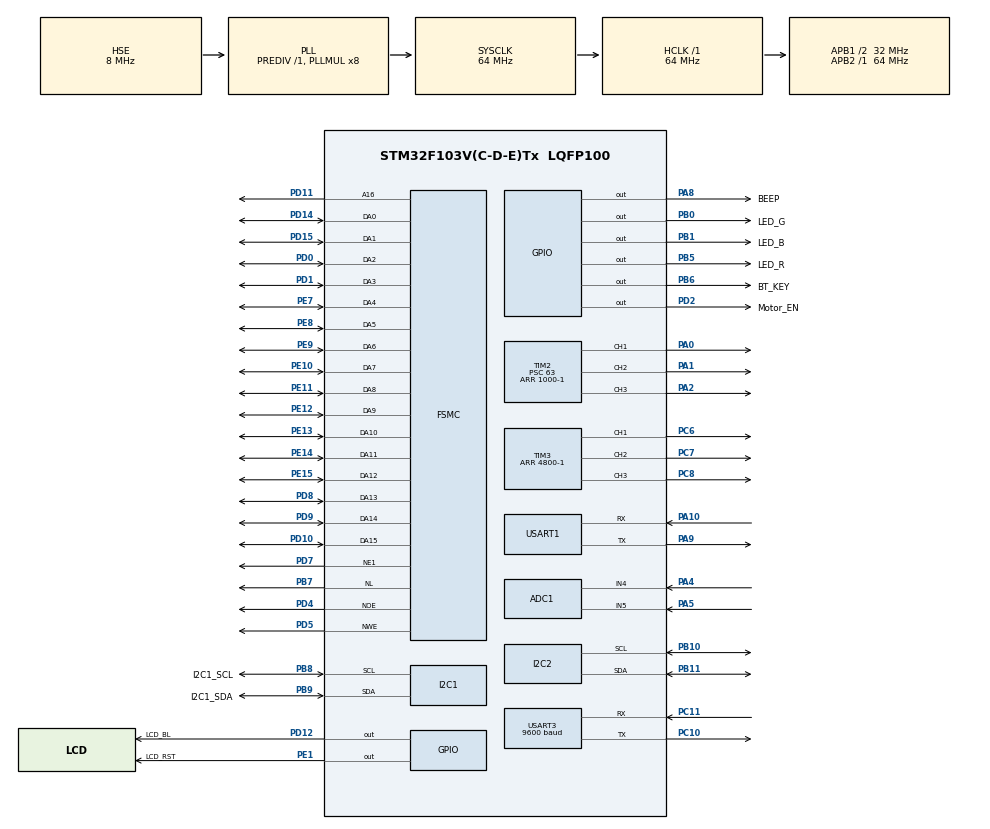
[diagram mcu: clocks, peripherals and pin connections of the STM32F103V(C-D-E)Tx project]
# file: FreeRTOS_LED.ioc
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ADC1.Channel-1\#ChannelRegularConversion=ADC_CHANNEL_5
ADC1.Channel-3\#ChannelRegularConversion=ADC_CHANNEL_4
ADC1.ContinuousConvMode=ENABLE
ADC1.DataAlign=ADC_DATAALIGN_RIGHT
ADC1.EnableInjectedConversion=DISABLE
ADC1.NbrOfConversion=2
ADC1.NbrOfConversionFlag=1
ADC1.Rank-1\#ChannelRegularConversion=1
ADC1.Rank-3\#ChannelRegularConversion=2
ADC1.SamplingTime-1\#ChannelRegularConversion=ADC_SAMPLETIME_1CYCLE_5
ADC1.SamplingTime-3\#ChannelRegularConversion=ADC_SAMPLETIME_1CYCLE_5
ADC1.master=1
Dma.ADC1.2.Direction=DMA_PERIPH_TO_MEMORY
Dma.ADC1.2.Instance=DMA1_Channel1
Dma.ADC1.2.MemDataAlignment=DMA_MDATAALIGN_HALFWORD
Dma.ADC1.2.MemInc=DMA_MINC_ENABLE
Dma.ADC1.2.Mode=DMA_CIRCULAR
Dma.ADC1.2.PeriphDataAlignment=DMA_PDATAALIGN_HALFWORD
Dma.ADC1.2.PeriphInc=DMA_PINC_DISABLE
Dma.ADC1.2.Priority=DMA_PRIORITY_LOW
Dma.Request0=USART1_RX
Dma.Request1=USART1_TX
Dma.Request2=ADC1
Dma.Request3=USART3_RX
Dma.Request4=USART3_TX
Dma.USART1_RX.0.Direction=DMA_PERIPH_TO_MEMORY
Dma.USART1_RX.0.Instance=DMA1_Channel5
Dma.USART1_RX.0.MemDataAlignment=DMA_MDATAALIGN_BYTE
Dma.USART1_RX.0.MemInc=DMA_MINC_ENABLE
Dma.USART1_RX.0.Mode=DMA_NORMAL
Dma.USART1_RX.0.PeriphDataAlignment=DMA_PDATAALIGN_BYTE
Dma.USART1_RX.0.PeriphInc=DMA_PINC_DISABLE
Dma.USART1_RX.0.Priority=DMA_PRIORITY_LOW
Dma.USART1_TX.1.Direction=DMA_MEMORY_TO_PERIPH
Dma.USART1_TX.1.Instance=DMA1_Channel4
Dma.USART1_TX.1.MemDataAlignment=DMA_MDATAALIGN_BYTE
Dma.USART1_TX.1.MemInc=DMA_MINC_ENABLE
Dma.USART1_TX.1.Mode=DMA_NORMAL
Dma.USART1_TX.1.PeriphDataAlignment=DMA_PDATAALIGN_BYTE
Dma.USART1_TX.1.PeriphInc=DMA_PINC_DISABLE
Dma.USART1_TX.1.Priority=DMA_PRIORITY_LOW
Dma.USART3_RX.3.Direction=DMA_PERIPH_TO_MEMORY
Dma.USART3_RX.3.Instance=DMA1_Channel3
Dma.USART3_RX.3.MemDataAlignment=DMA_MDATAALIGN_BYTE
Dma.USART3_RX.3.MemInc=DMA_MINC_ENABLE
Dma.USART3_RX.3.Mode=DMA_NORMAL
Dma.USART3_RX.3.PeriphDataAlignment=DMA_PDATAALIGN_BYTE
Dma.USART3_RX.3.PeriphInc=DMA_PINC_DISABLE
Dma.USART3_RX.3.Priority=DMA_PRIORITY_HIGH
Dma.USART3_TX.4.Direction=DMA_MEMORY_TO_PERIPH
Dma.USART3_TX.4.Instance=DMA1_Channel2
Dma.USART3_TX.4.MemDataAlignment=DMA_MDATAALIGN_BYTE
Dma.USART3_TX.4.MemInc=DMA_MINC_ENABLE
Dma.USART3_TX.4.Mode=DMA_NORMAL
Dma.USART3_TX.4.PeriphDataAlignment=DMA_PDATAALIGN_BYTE
Dma.USART3_TX.4.PeriphInc=DMA_PINC_DISABLE
Dma.USART3_TX.4.Priority=DMA_PRIORITY_LOW
FREERTOS.Tasks01=LED_Blink,8,128,StartDefaultTask,Default,NULL,Dynamic,NULL,NULL
FSMC.BusTurnAroundDuration1=0
FSMC.DataSetupTime1=8
FSMC.WriteOperation1=FSMC_WRITE_OPERATION_ENABLE
I2C1.I2C_Mode=I2C_Fast
I2C2.I2C_Mode=I2C_Fast
Mcu.Family=STM32F1
Mcu.Name=STM32F103V(C-D-E)Tx
Mcu.Package=LQFP100
NVIC.DMA1_Channel4_IRQn=true\:5\:0\:false\:false\:true\:true\:false\:true\:true
NVIC.DMA1_Channel5_IRQn=true\:5\:0\:false\:false\:true\:true\:false\:true\:true
NVIC.PriorityGroup=NVIC_PRIORITYGROUP_4
NVIC.TIM6_IRQn=true\:15\:0\:false\:false\:true\:false\:false\:true\:true
NVIC.TimeBase=TIM6_IRQn
NVIC.TimeBaseIP=TIM6
NVIC.USART1_IRQn=true\:5\:0\:false\:false\:true\:true\:true\:true\:true
OSC_IN.Mode=HSE-External-Oscillator
OSC_IN.Signal=RCC_OSC_IN
OSC_OUT.Mode=HSE-External-Oscillator
OSC_OUT.Signal=RCC_OSC_OUT
PA0-WKUP.Signal=S_TIM2_CH1_ETR
PA1.Signal=S_TIM2_CH2
PA10.Mode=Asynchronous
PA10.Signal=USART1_RX
PA13.Mode=Serial_Wire
PA13.Signal=SYS_JTMS-SWDIO
PA14.Mode=Serial_Wire
PA14.Signal=SYS_JTCK-SWCLK
PA2.Signal=S_TIM2_CH3
PA4.Signal=ADCx_IN4
PA5.Signal=ADCx_IN5
PA8.GPIO_Label=BEEP
PA8.GPIO_ModeDefaultOutputPP=GPIO_MODE_OUTPUT_PP
PA8.GPIO_PuPd=GPIO_NOPULL
PA8.GPIO_Speed=GPIO_SPEED_FREQ_HIGH
PA8.PinState=GPIO_PIN_RESET
PA8.Signal=GPIO_Output
PA9.Mode=Asynchronous
PA9.Signal=USART1_TX
PB0.GPIO_Label=LED_G
PB0.GPIO_Speed=GPIO_SPEED_FREQ_MEDIUM
PB0.PinState=GPIO_PIN_SET
PB0.Signal=GPIO_Output
PB1.GPIO_Label=LED_B
PB1.GPIO_Speed=GPIO_SPEED_FREQ_MEDIUM
PB1.PinState=GPIO_PIN_SET
PB1.Signal=GPIO_Output
PB10.Mode=I2C
PB10.Signal=I2C2_SCL
PB11.Mode=I2C
PB11.Signal=I2C2_SDA
PB5.GPIO_Label=LED_R
PB5.GPIO_Speed=GPIO_SPEED_FREQ_MEDIUM
PB5.PinState=GPIO_PIN_SET
PB5.Signal=GPIO_Output
PB6.GPIO_Label=BT_KEY
PB6.GPIO_Speed=GPIO_SPEED_FREQ_MEDIUM
PB6.Signal=GPIO_Output
PB7.Signal=FSMC_NL
PB8.GPIO_Label=I2C1_SCL
PB8.Mode=I2C
PB8.Signal=I2C1_SCL
PB9.GPIO_Label=I2C1_SDA
PB9.Mode=I2C
PB9.Signal=I2C1_SDA
PC10.Mode=Asynchronous
PC10.Signal=USART3_TX
PC11.Mode=Asynchronous
PC11.Signal=USART3_RX
PC6.Signal=S_TIM3_CH1
PC7.Signal=S_TIM3_CH2
PC8.Signal=S_TIM3_CH3
PD0.Mode=17b-da1
PD0.Signal=FSMC_DA2
PD1.Mode=17b-da1
PD1.Signal=FSMC_DA3
PD10.Mode=17b-da1
PD10.Signal=FSMC_DA15
PD11.Mode=17b-da1
PD11.Signal=FSMC_A16
PD12.GPIO_Label=LCD_BL
PD12.GPIO_PuPd=GPIO_PULLUP
PD12.GPIO_Speed=GPIO_SPEED_FREQ_HIGH
PD12.Signal=GPIO_Output
PD14.Mode=17b-da1
PD14.Signal=FSMC_DA0
PD15.Mode=17b-da1
PD15.Signal=FSMC_DA1
PD2.GPIO_Label=Motor_EN    
PD2.Signal=GPIO_Output
PD4.Mode=MuxedPsram1
PD4.Signal=FSMC_NOE
PD5.Mode=MuxedPsram1
PD5.Signal=FSMC_NWE
PD7.Mode=NorPsramChipSelect1_1
PD7.Signal=FSMC_NE1
PD8.Mode=17b-da1
PD8.Signal=FSMC_DA13
PD9.Mode=17b-da1
PD9.Signal=FSMC_DA14
PE1.GPIO_Label=LCD_RST
PE1.GPIO_PuPd=GPIO_PULLUP
PE1.GPIO_Speed=GPIO_SPEED_FREQ_HIGH
PE1.Signal=GPIO_Output
PE10.Mode=17b-da1
PE10.Signal=FSMC_DA7
PE11.Mode=17b-da1
PE11.Signal=FSMC_DA8
PE12.Mode=17b-da1
PE12.Signal=FSMC_DA9
PE13.Mode=17b-da1
PE13.Signal=FSMC_DA10
PE14.Mode=17b-da1
PE14.Signal=FSMC_DA11
PE15.Mode=17b-da1
PE15.Signal=FSMC_DA12
PE7.Mode=17b-da1
PE7.Signal=FSMC_DA4
PE8.Mode=17b-da1
PE8.Signal=FSMC_DA5
PE9.Mode=17b-da1
PE9.Signal=FSMC_DA6
ProjectManager.HeapSize=0x200
ProjectManager.StackSize=0x400
ProjectManager.TargetToolchain=CMake
RCC.ADCPresc=RCC_ADCPCLK2_DIV6
RCC.AHBFreq_Value=64000000
RCC.APB1CLKDivider=RCC_HCLK_DIV2
RCC.APB1Freq_Value=32000000
RCC.APB1TimFreq_Value=64000000
RCC.APB2Freq_Value=64000000
RCC.APB2TimFreq_Value=64000000
RCC.HCLKFreq_Value=64000000
RCC.PLLMUL=RCC_PLL_MUL8
RCC.PLLSourceVirtual=RCC_PLLSOURCE_HSE
RCC.SYSCLKFreq_VALUE=64000000
RCC.SYSCLKSource=RCC_SYSCLKSOURCE_PLLCLK
RCC.USBFreq_Value=64000000
SH.ADCx_IN4.0=ADC1_IN4,IN4
SH.ADCx_IN5.0=ADC1_IN5,IN5
SH.FSMC_NL.0=FSMC_NL,AddressValid1
SH.S_TIM2_CH1_ETR.0=TIM2_CH1,PWM Generation1 CH1
SH.S_TIM2_CH2.0=TIM2_CH2,PWM Generation2 CH2
SH.S_TIM2_CH3.0=TIM2_CH3,PWM Generation3 CH3
SH.S_TIM3_CH1.0=TIM3_CH1,PWM Generation1 CH1
SH.S_TIM3_CH2.0=TIM3_CH2,PWM Generation2 CH2
SH.S_TIM3_CH3.0=TIM3_CH3,PWM Generation3 CH3
STMicroelectronics.X-CUBE-ALGOBUILD.1.4.0.LibraryCcDSPOoLibraryJjDSPOoLibrary=true
TIM2.Channel-PWM\ Generation1\ CH1=TIM_CHANNEL_1
TIM2.Channel-PWM\ Generation2\ CH2=TIM_CHANNEL_2
TIM2.Channel-PWM\ Generation3\ CH3=TIM_CHANNEL_3
TIM2.Period=1000-1
TIM2.Prescaler=63
TIM3.Channel-PWM\ Generation1\ CH1=TIM_CHANNEL_1
TIM3.Channel-PWM\ Generation2\ CH2=TIM_CHANNEL_2
TIM3.Channel-PWM\ Generation3\ CH3=TIM_CHANNEL_3
TIM3.Period=4800-1
USART1.VirtualMode=VM_ASYNC
USART3.BaudRate=9600
USART3.VirtualMode=VM_ASYNC
VP_FREERTOS_VS_CMSIS_V2.Mode=CMSIS_V2
VP_STMicroelectronics.X-CUBE-ALGOBUILD_VS_DSPOoLibraryJjLibrary_1.4.0_1.4.0.Mode=DSPOoLibraryJjLibrary
VP_SYS_VS_tim6.Mode=TIM6
board=custom

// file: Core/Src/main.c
/* USER CODE BEGIN Header */
/**
  ******************************************************************************
  * @file           : main.c
  * @brief          : Main program body
  ******************************************************************************
  * @attention
  *
  * Copyright (c) 2025 STMicroelectronics.
  * All rights reserved.
  *
  * This software is licensed under terms that can be found in the LICENSE file
  * in the root directory of this software component.
  * If no LICENSE file comes with this software, it is provided AS-IS.
  *
  ******************************************************************************
  */
/* USER CODE END Header */
#include "main.h"
#include "cmsis_os.h"
#include "adc.h"
#include "dma.h"
#include "i2c.h"
#include "tim.h"
#include "usart.h"
#include "gpio.h"
#include "fsmc.h"

/* USER CODE BEGIN Includes */
#include "lcd_bsp.h"
#include "led_bsp.h"
#include "beep_bsp.h"
#include "my_usart.h"
#include "drv_uart.h"
#include "dvc_motorTask.h"
#include "servo_bus_task.h"
#include "dvc_motor.h"
#include "dvc_servo.h"
#include "alg_filter.h"
/* USER CODE END Includes */

/* USER CODE BEGIN PV */
int mycnt = 0;
GPIO_PinState cur_state;
uint8_t disp_mode = 4;

// extern UART_HandleTypeDef huart1;

extern char get_ch;
extern char get_ch2;
extern BT_mode AT_Mode;
extern uint8_t usart_event_flag;
extern CommandHandler_t command_handler;
extern char cmd_buffer[MAX_CMD_LENGTH];

extern Class_Motor_2208 Motor_0;
extern Class_Filter_Second_Order_Butterworth Filter_Test;
extern Class_Servo_Bus servo_bus;

/* USER CODE END PV */

void SystemClock_Config(void);
void MX_FREERTOS_Init(void);
/* USER CODE BEGIN PFP */

extern void Task_EncoderTest(void * param);
extern void Task_EncoderDisp(void * param);
extern void Task_Motor_2208_Test(void * param);

void HandleCommand(const char* command);

void UART_Servo_Call_Back(uint8_t *Buffer, uint16_t Length);
/* USER CODE END PFP */

/* USER CODE BEGIN 0 */

void UART_Servo_Call_Back(uint8_t *Buffer, uint16_t Length)
{
    servo_bus.UART_RxCpltCallback(Buffer, Length);//servo_bus在相应的舵机任务文件中定义dvc_servo_Task.c
    switch (servo_bus.Get_RX_Command())
    {
      case CMD_GET_BATTERY_VOLTAGE:
      {
        usart_printf(&huart1, "BATTERY_VOLTAGE: %f\n",(float)(servo_bus.Get_Voltage() / 1000.0));
      }
      break;
      default:
      {
        for(uint8_t i = 0; i < servo_bus.Get_NumServo(); i++)
        {
          usart_printf(&huart1, "servo %d position: %d\n",servo_bus.Get_Servos(i)->ID,servo_bus.Get_Servos(i)->Position);
        }

      }
        break;
    }
    usart_printf(&huart1, "ECHO:%s\n",Buffer);
}

/* USER CODE END 0 */

int main(void)
{

  /* MCU Configuration--------------------------------------------------------*/

  /* Reset of all peripherals, Initializes the Flash interface and the Systick. */
  HAL_Init();

  /* Configure the system clock */
  SystemClock_Config();

  /* Initialize all configured peripherals */
  MX_GPIO_Init();
  MX_DMA_Init();
  MX_FSMC_Init();
  MX_USART1_UART_Init();
  MX_I2C1_Init();
  MX_I2C2_Init();
  MX_TIM2_Init();
  MX_TIM3_Init();
  MX_ADC1_Init();
  MX_USART3_UART_Init();
  /* USER CODE BEGIN 2 */
  ILI9341_Init(); //初始化ILI9341液晶屏
  ILI9341_GramScan(6);
  HAL_Delay(500);
  ILI9341_Clear(0,0,LCD_X_LENGTH,LCD_Y_LENGTH);
  HAL_Delay(1000);

  // Task_EncoderTest_Init(NULL);
  // Task_Motor_2208_Init(NULL);
  // Task_EncoderDisp_Init();

  uint8_t servos_add[2] = {1,2};

  UART_Init(&huart3, UART_Servo_Call_Back, 100);
  servo_bus.Init(&UART3_Manage_Object);
  servo_bus.Add_Servo(servos_add,2);

  //My_Usart_Init：
  ATMode_Switch(0, &AT_Mode);
  My_USART_SetCommandHandler(HandleCommand);
  HAL_UART_Receive_IT(&huart1, (uint8_t*)&get_ch, 1);
  My_USART_Init();
  printf("UART Command System Ready!\r\n");
  /* USER CODE END 2 */

  /* Init scheduler */
  osKernelInitialize();  /* Call init function for freertos objects (in cmsis_os2.c) */
  MX_FREERTOS_Init();

  /* Start scheduler */
  osKernelStart();

  /* We should never get here as control is now taken by the scheduler */

  /* Infinite loop */
  while (1)
  {

  }
}

void SystemClock_Config(void)
{
  RCC_OscInitTypeDef RCC_OscInitStruct = {0};
  RCC_ClkInitTypeDef RCC_ClkInitStruct = {0};
  RCC_PeriphCLKInitTypeDef PeriphClkInit = {0};

  /** Initializes the RCC Oscillators according to the specified parameters
  * in the RCC_OscInitTypeDef structure.
  */
  RCC_OscInitStruct.OscillatorType = RCC_OSCILLATORTYPE_HSE;
  RCC_OscInitStruct.HSEState = RCC_HSE_ON;
  RCC_OscInitStruct.HSEPredivValue = RCC_HSE_PREDIV_DIV1;
  RCC_OscInitStruct.HSIState = RCC_HSI_ON;
  RCC_OscInitStruct.PLL.PLLState = RCC_PLL_ON;
  RCC_OscInitStruct.PLL.PLLSource = RCC_PLLSOURCE_HSE;
  RCC_OscInitStruct.PLL.PLLMUL = RCC_PLL_MUL8;
  if (HAL_RCC_OscConfig(&RCC_OscInitStruct) != HAL_OK)
  {
    Error_Handler();
  }

  /** Initializes the CPU, AHB and APB buses clocks
  */
  RCC_ClkInitStruct.ClockType = RCC_CLOCKTYPE_HCLK|RCC_CLOCKTYPE_SYSCLK
                              |RCC_CLOCKTYPE_PCLK1|RCC_CLOCKTYPE_PCLK2;
  RCC_ClkInitStruct.SYSCLKSource = RCC_SYSCLKSOURCE_PLLCLK;
  RCC_ClkInitStruct.AHBCLKDivider = RCC_SYSCLK_DIV1;
  RCC_ClkInitStruct.APB1CLKDivider = RCC_HCLK_DIV2;
  RCC_ClkInitStruct.APB2CLKDivider = RCC_HCLK_DIV1;

  if (HAL_RCC_ClockConfig(&RCC_ClkInitStruct, FLASH_LATENCY_2) != HAL_OK)
  {
    Error_Handler();
  }
  PeriphClkInit.PeriphClockSelection = RCC_PERIPHCLK_ADC;
  PeriphClkInit.AdcClockSelection = RCC_ADCPCLK2_DIV6;
  if (HAL_RCCEx_PeriphCLKConfig(&PeriphClkInit) != HAL_OK)
  {
    Error_Handler();
  }
}

/* USER CODE BEGIN 4 */
// void HandleCommand(const char* command)
// {
//   static int val_int[3] = {0, 0, 0};
//   static float val_float[3] = {0.0f, 0.0f, 0.0f};
//   static char val_str[50] = {0};
//   usart_printf(&huart1, "CMD: %s\r\n", command);

//   if(sscanf(command, "SPD %f", &val_float[0]) == 1)
//   {
//     Motor_0.Set_Omega_Target(val_float[0]);
//     usart_printf(&huart1, "SPD SET TO %f\n", val_float[0]);
//   }
//   else if(sscanf(command, "TOR %f", &val_float[1]) == 1)
//   {
//     Motor_0.Positive_FOC.Set_U_ref(val_float[1], 0.0f);
//     usart_printf(&huart1, "TOR SET TO %f\n", val_float[1]);
//   }
//   else if(sscanf(command, "ANG %f", &val_float[0]) == 1)
//   {
//     Motor_0.Set_Angle_Target(Motor_0.Get_Angle_Now()+val_float[0]);
//     usart_printf(&huart1, "ANG SET TO %f\n", Motor_0.Get_Angle_Now()+val_float[0]);
//   }
//   else if(sscanf(command, "CL_TOR %f", &val_float[1]) == 1)
//   {
//     Motor_0.Set_Torque_Target(val_float[1]);
//     usart_printf(&huart1, "TOR SET TO %f\n", val_float[1]);
//   }

//   else if(sscanf(command, "OmgFIL %f %f", &val_float[1], &val_float[2]) == 2)
//   {
//     Motor_0.Encoder.Filter_Omega.Init(val_float[1], val_float[2]);
//     usart_printf(&huart1, "FIL SET TO %f, %f\n", val_float[1], val_float[2]);
//   }
//   else if(sscanf(command, "TorFIL %f %f", &val_float[1], &val_float[2]) == 2)
//   {
//     Motor_0.Filter_Torque.Init(val_float[1], val_float[2]);
//     usart_printf(&huart1, "FIL SET TO %f, %f\n", val_float[1], val_float[2]);
//   }

//   else if(sscanf(command, "TorPID %f %f %f", &val_float[1], &val_float[2], &val_float[3]) == 3)
//   {
//     Motor_0.PID_Torque.Set_K_P(val_float[1]);
//     Motor_0.PID_Torque.Set_K_I(val_float[2]);
//     Motor_0.PID_Torque.Set_K_D(val_float[3]);
//     usart_printf(&huart1, "PID SET TO %f, %f, %f\n", val_float[1], val_float[2], val_float[3]);
//   }
//   else if(sscanf(command, "OmgPID %f %f %f", &val_float[1], &val_float[2], &val_float[3]) == 3)
//   {
//     Motor_0.PID_Omega.Set_K_P(val_float[1]);
//     Motor_0.PID_Omega.Set_K_I(val_float[2]);
//     Motor_0.PID_Omega.Set_K_D(val_float[3]);
//     usart_printf(&huart1, "PID SET TO %f, %f, %f\n", val_float[1], val_float[2], val_float[3]);
//   }
//   else if(sscanf(command, "AngPID %f %f %f", &val_float[1], &val_float[2], &val_float[3]) == 3)
//   {
//     Motor_0.PID_Angle.Set_K_P(val_float[1]);
//     Motor_0.PID_Angle.Set_K_I(val_float[2]);
//     Motor_0.PID_Angle.Set_K_D(val_float[3]);
//     usart_printf(&huart1, "PID SET TO %f, %f, %f\n", val_float[1], val_float[2], val_float[3]);
//   }

//   else if(sscanf(command, "MOD %s",val_str) == 1)
//   {
//     if(strcmp(val_str, "TOR") == 0)
//     {
//       disp_mode = 1;
//       Motor_0.Set_Control_Mode(Torque_Closeloop_Mode);
//       usart_printf(&huart1, "MODE SET TO TORQUE CLOSELOOP\n");
//     }
//     else if(strcmp(val_str, "OP") == 0)
//     {
//       disp_mode = 1;
//       Motor_0.Set_Control_Mode(Torque_Openloop_Mode);
//       usart_printf(&huart1, "MODE SET TO TORQUE OPENLOOP\n");
//     }
//     else if(strcmp(val_str, "OMG") == 0)
//     {
//       disp_mode = 3;
//       Motor_0.Set_Control_Mode(Omega_Closeloop_Mode);
//       usart_printf(&huart1, "MODE SET TO OMEGA CLOSELOOP\n");
//     }
//     else if(strcmp(val_str, "ANG") == 0)
//     {
//       disp_mode = 2;
//       Motor_0.Set_Angle_Target(Motor_0.Get_Angle_Now());
//       Motor_0.Set_Control_Mode(Angle_Torque_Closeloop_Mode);
//       usart_printf(&huart1, "MODE SET TO ANGLE CLOSELOOP\n");
//     }
//     else if(strcmp(val_str, "TEST") == 0)
//     {
//       disp_mode = 4;
//       Motor_0.Set_Control_Mode(Torque_Openloop_Mode);
//       usart_printf(&huart1, "MODE SET TO TORQUE CLOSELOOP\n");
//     }
//     // else if(strcmp(val_str, "ANGOMG") == 0)
//     // {
//     //   disp_mode = 2;
//     //   Motor_0.Set_Angle_Target(Motor_0.Get_Angle_Now());
//     //   Motor_0.Set_Control_Mode(Angle_Omega_Closeloop_Mode);
//     //   usart_printf(&huart1, "MODE SET TO OMEGA CLOSELOOP\n");
//     // }
//     else
//     {
//       disp_mode = 0;
//       Motor_0.Set_Control_Mode(NOT_READY);
//       usart_printf(&huart1, "UNKOWN_MODE,STOP_DISP\n");
//     }
//   }
//   else
//   {
//     usart_printf(&huart1, "UNKOMN_CMD\n");
//   }

// }

void HandleCommand(const char* command)
{
  static int val_int[4] = {0, 0, 0};
  static float val_float[3] = {0.0f, 0.0f, 0.0f};
  static char val_str[50] = {0};
  usart_printf(&huart1, "CMD: %s\r\n", command);

  if(sscanf(command, "MOV %d %d", &val_int[0], &val_int[1]) == 2)
  {
    servo_bus.CMD_MoveServos(1, 500, val_int[0], val_int[1]);
    usart_printf(&huart1, "POS SET TO %d\n", val_int[1]);
  }
  if(strcmp(command, "VOL") == 0)
  {
    servo_bus.CMD_GetBatteryVoltage();
    // usart_printf(&huart1, "VOL %d\n", val_int[1]);
  }
  else if(sscanf(command, "READ %d", &val_int[0]) == 1)
  {
    servo_bus.CMD_MultServoPosRead(1,val_int[0]);
    for(uint8_t i = 0; i < servo_bus.Get_NumServo(); i++)
    {
      usart_printf(&huart1, "servo %d position: %d\n",servo_bus.Get_Servos(i)->ID,servo_bus.Get_Servos(i)->Position);
    }
  }
  else
  {
    usart_printf(&huart1, "UNKOMN_CMD\n");
  }

}
/* USER CODE END 4 */

void HAL_TIM_PeriodElapsedCallback(TIM_HandleTypeDef *htim)
{
  if (htim->Instance == TIM6)
  {
    HAL_IncTick();
  }
}

void Error_Handler(void)
{
  __disable_irq();
  while (1)
  {
  }
}

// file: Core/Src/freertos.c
/* USER CODE BEGIN Header */
/**
  ******************************************************************************
  * File Name          : freertos.c
  * Description        : Code for freertos applications
  ******************************************************************************
  * @attention
  *
  * Copyright (c) 2025 STMicroelectronics.
  * All rights reserved.
  *
  * This software is licensed under terms that can be found in the LICENSE file
  * in the root directory of this software component.
  * If no LICENSE file comes with this software, it is provided AS-IS.
  *
  ******************************************************************************
  */
/* USER CODE END Header */

#include "FreeRTOS.h"
#include "task.h"
#include "main.h"
#include "cmsis_os.h"

/* USER CODE BEGIN Includes */
#include "math.h"
#include "stdio.h"
#include "led_bsp.h"
#include "lcd_bsp.h"
#include "beep_bsp.h"
#include "my_usart.h"
#include "usart.h"
#include "dvc_motorTask.h"
/* USER CODE END Includes */

/* USER CODE BEGIN Variables */

  TaskHandle_t Motor_Handle = NULL;
  TaskHandle_t Encoder_Handle = NULL;
  TaskHandle_t USART_BT_Handle = NULL;
  TaskHandle_t LCD_Handle = NULL;
  TaskHandle_t LED_Handle = NULL;
  extern int mycnt;
  extern GPIO_PinState cur_state;
/* USER CODE END Variables */
/* Definitions for LED_Blink */
osThreadId_t LED_BlinkHandle;
const osThreadAttr_t LED_Blink_attributes = {
  .name = "LED_Blink",
  .stack_size = 128 * 4,
  .priority = (osPriority_t) osPriorityLow,
};

/* USER CODE BEGIN FunctionPrototypes */
void task_led(void * param);
void task_lcd(void * param);
void task_usart_bt(void * param);
void task_Encoder_Start(void * param);

extern void Task_EncoderTest(void * param);
extern void Task_EncoderDisp(void * param);
extern void Task_Motor_2208_Test(void * param);

void task_led(void * param)
{
  while(1)
  {
    // LED_Control(LED_B_Pin, OFF);
    // LED_Control(LED_R_Pin, ON);
    // HAL_GPIO_WritePin(BEEP_GPIO_Port, BEEP_Pin, GPIO_PIN_RESET);
    // osDelay(pdMS_TO_TICKS(500));
    // LED_Control(LED_R_Pin, OFF);
    // LED_Control(LED_G_Pin, ON);
    // // HAL_GPIO_WritePin(BEEP_GPIO_Port, BEEP_Pin, GPIO_PIN_RESET);
    // osDelay(pdMS_TO_TICKS(500));
    // LED_Control(LED_G_Pin, OFF);
    // LED_Control(LED_B_Pin, ON);
    // // HAL_GPIO_WritePin(BEEP_GPIO_Port, BEEP_Pin, GPIO_PIN_SET);
    // osDelay(pdMS_TO_TICKS(500));
    // mycnt++;
  }

}

void task_lcd(void * param)
{
    /* USER CODE BEGIN StartDefaultTask */
  static uint16_t line_cnt = 0;
  static uint16_t color = RED;
  /* Infinite loop */
  for(;;)
  {
    LCD_SetColors(color, WHITE);
    LCD_ClearLine(LINE(line_cnt - 1));
    LCD_print(line_cnt,"Hello FreeRTOS!%d",line_cnt);
    line_cnt++;
    switch(color)
    {
      case RED:
        color = GREEN;
        break;
      case GREEN:
        color = BLUE;
        break;
      case BLUE:
        color = RED;
        break;
      default:
        color = WHITE;
        break;
    }
    vTaskDelay(pdMS_TO_TICKS(500));
    if(line_cnt >= 20)
    {
      LCD_ClearLine(LINE(line_cnt - 1));
      line_cnt = 0;
    }
  }
  /* USER CODE END StartDefaultTask */
}

void task_usart_bt(void * param)
{
  Task_EncoderDisp(param);
  while(1)
  {

  }
}

void task_Encoder_Start(void * param)
{
  Task_EncoderTest(param);
  while(1)
  {

  }
}

void task_Motor_Start(void * param)
{
  Task_Motor_2208_Test(param);
  while(1)
  {

  }
}

/* USER CODE END FunctionPrototypes */

void StartDefaultTask(void *argument);

void MX_FREERTOS_Init(void); /* (MISRA C 2004 rule 8.1) */

void MX_FREERTOS_Init(void) {

  /* Create the thread(s) */
  /* creation of LED_Blink */
  LED_BlinkHandle = osThreadNew(StartDefaultTask, NULL, &LED_Blink_attributes);

  /* USER CODE BEGIN RTOS_THREADS */
  /* add threads, ... */
  // xTaskCreate(task_lcd, "Task_LCD", 256, NULL, 2, NULL);
  // xTaskCreate(task_lcd, "Task_LCD", 512, NULL, 3, NULL);
  // xTaskCreate(task_led, "Task_LED", 256, NULL, (osPriority_t) osPriorityNormal, NULL);
  // xTaskCreate(task_usart_bt, "Task_USART_BT", 256, NULL, (osPriority_t) osPriorityNormal, &USART_BT_Handle);
  // xTaskCreate(task_Encoder_Start, "Task_Encoder_Test", 128, NULL, (osPriority_t) osPriorityNormal, &Encoder_Handle);
  // xTaskCreate(task_Motor_Start, "Task_Motor_2208_Test", 256, NULL, (osPriority_t) osPriorityNormal7, &Motor_Handle);

  /* USER CODE END RTOS_THREADS */

}

void StartDefaultTask(void *argument)
{
  /* USER CODE BEGIN StartDefaultTask */
  static uint16_t line_cnt = 0;
  static uint16_t color = RED;
  /* Infinite loop */
  for(;;)
  {
    LCD_SetColors(color, WHITE);
    LCD_ClearLine(LINE(line_cnt - 1));
    LCD_print(line_cnt,"Hello FreeRTOS!%d",line_cnt);
    line_cnt++;
    switch(color)
    {
      case RED:
        color = GREEN;
        break;
      case GREEN:
        color = BLUE;
        break;
      case BLUE:
        color = RED;
        break;
      default:
        color = WHITE;
        break;
    }
    vTaskDelay(pdMS_TO_TICKS(500));
    if(line_cnt >= 20)
    {
      LCD_ClearLine(LINE(line_cnt - 1));
      line_cnt = 0;
    }
  }
  /* USER CODE END StartDefaultTask */
}
